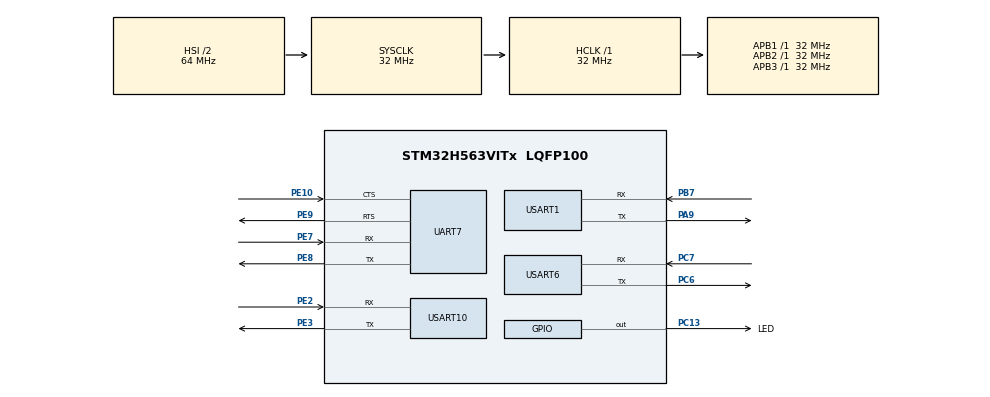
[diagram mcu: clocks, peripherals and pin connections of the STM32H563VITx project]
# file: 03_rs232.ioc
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BOOTPATH.BootPathName=LEGACY
BOOTPATH.UserSelectedBootPath=LEGACY
CORTEX_M33_NS.userName=CORTEX_M33
GPDMA1.CIRCULARMODE_GPDMACH1=ENABLE
GPDMA1.CIRCULARMODE_GPDMACH2=ENABLE
GPDMA1.RECAP_GPDMACH1=GPDMA1_REQUEST_USART1_RX
Mcu.Family=STM32H5
Mcu.Name=STM32H563VITx
Mcu.Package=LQFP100
NVIC.PriorityGroup=NVIC_PRIORITYGROUP_4
NVIC.USART1_IRQn=true\:0\:0\:false\:false\:true\:true\:true\:true
PA9.Mode=Asynchronous
PA9.Signal=USART1_TX
PB7.Mode=Asynchronous
PB7.Signal=USART1_RX
PC13.GPIO_Label=LED
PC13.Signal=GPIO_Output
PC6.Mode=Asynchronous
PC6.Signal=USART6_TX
PC7.Mode=Asynchronous
PC7.Signal=USART6_RX
PE10.Mode=CTS_RTS
PE10.Signal=UART7_CTS
PE2.Mode=Asynchronous
PE2.Signal=USART10_RX
PE3.Mode=Asynchronous
PE3.Signal=USART10_TX
PE7.Mode=Asynchronous
PE7.Signal=UART7_RX
PE8.Mode=Asynchronous
PE8.Signal=UART7_TX
PE9.Mode=CTS_RTS
PE9.Signal=UART7_RTS
ProjectManager.HeapSize=0x200
ProjectManager.StackSize=0x400
ProjectManager.TargetToolchain=STM32CubeIDE
RCC.ADCFreq_Value=32000000
RCC.AHBFreq_Value=32000000
RCC.APB1Freq_Value=32000000
RCC.APB1TimFreq_Value=32000000
RCC.APB2Freq_Value=32000000
RCC.APB2TimFreq_Value=32000000
RCC.APB3Freq_Value=32000000
RCC.CSI_VALUE=4000000
RCC.CortexFreq_Value=32000000
RCC.EPOD_VALUE=4000000
RCC.HCLKFreq_Value=32000000
RCC.HSE_VALUE=25000000
RCC.HSI48_VALUE=48000000
RCC.HSI_VALUE=64000000
RCC.LSE_VALUE=32768
RCC.LSIRC_VALUE=32000
RCC.SYSCLKFreq_VALUE=32000000
RCC.USBFreq_Value=48000000
RCC.VCOOutputFreq_Value=516000000
USART1.VirtualMode-Asynchronous=VM_ASYNC
USART10.VirtualMode=VM_ASYNC
USART6.VirtualMode=VM_ASYNC
VP_BOOTPATH_VS_BOOTPATH.Mode=BP_Activate
VP_CORTEX_M33_NS_VS_Hclk.Mode=Hclk_Mode
VP_GPDMA1_VS_GPDMACH1.Mode=SIMPLEREQUEST_GPDMACH1
VP_GPDMA1_VS_GPDMACH2.Mode=SIMPLEREQUEST_GPDMACH2
VP_ICACHE_VS_ENABLE_ICACHE_MEMORY.Mode=Memoryregions
VP_ICACHE_VS_ICACHE.Mode=DirectMappedCache
VP_MEMORYMAP_VS_MEMORYMAP.Mode=CurAppReg
VP_PWR_VS_LPOM.Mode=PowerOptimisation
VP_PWR_VS_SECSignals.Mode=Security/Privilege
board=custom

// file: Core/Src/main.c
/* USER CODE BEGIN Header */
/**
 ******************************************************************************
 * @file           : main.c
 * @brief          : Main program body
 ******************************************************************************
 * @attention
 *
 * Copyright (c) 2026 STMicroelectronics.
 * All rights reserved.
 *
 * This software is licensed under terms that can be found in the LICENSE file
 * in the root directory of this software component.
 * If no LICENSE file comes with this software, it is provided AS-IS.
 *
 ******************************************************************************
 */

/**
 * @brief 해당 예제는 stm32h5-kit의 3개 채널 uart를 동시에 다루는 예제입니다.
 *        이전 예제 UART의 확장버전으로 구현하려고 합니다.
 *        RS232는 UART처럼 사용하시면 되기 때문에,
 *        STLink 포트를 이용하여, "RS232" 라고 입력 후 엔터를 치고,
 *        상대편이 rs232 메시지를 잘 받는지 관찰해 봅시다.
 *
 * @note  ioc에서 baudrate는 115200으로 맞춰줍시다.
 *        uart7을 사용하며, CTS/RTS 옵션을 체크해 줍시다. (해당 옵션은 하드웨어적으로 상대편에게 REQUEST및 RESPONSE를 해줍니다.)
 *        따라서 안정적인 상황에서만 통신을 지속 할 수 있게 해줍니다.
 *        현재 예제 수준에서는 불필요할지도 모르지만, 학습을 위해서라면 체크해두는게 좋겠습니다.
 *        핀번호는 아래와 같습니다.
 *
 *        RX - PE7
 *        TX - PE8
 *        RTS - PE9
 *        CTS - PE10
 */
/* USER CODE END Header */
#include "main.h"
#include "gpdma.h"
#include "icache.h"
#include "usart.h"
#include "gpio.h"

/* USER CODE BEGIN Includes */
#include <stdbool.h>
#include <string.h>
/* USER CODE END Includes */

/* USER CODE BEGIN PD */
#define RX_BUF_SIZE 64
/* USER CODE END PD */

/* USER CODE BEGIN PV */
static uint8_t          debug_uart_rx_char;
static char             debug_uart_rx_line[RX_BUF_SIZE];
static volatile uint8_t debug_uart_rx_idx   = 0;
static volatile bool    debug_uart_rx_ready = false;

extern UART_HandleTypeDef huart1;
extern UART_HandleTypeDef huart6;
extern UART_HandleTypeDef huart7; // RS232 핸들러
extern UART_HandleTypeDef huart10;
/* USER CODE END PV */

void SystemClock_Config(void);

/* USER CODE BEGIN 0 */

void HAL_UART_RxCpltCallback(UART_HandleTypeDef *huart)
{
  if (debug_uart_rx_ready)
  {
    HAL_UART_Receive_IT(&huart1, &debug_uart_rx_char, 1);
    return;
  }

  if (huart == &huart1)
  {
    HAL_UART_Transmit(&huart1, &debug_uart_rx_char, sizeof(debug_uart_rx_char), 1);

    if (debug_uart_rx_char == '\n' || debug_uart_rx_char == '\r')
    {
      debug_uart_rx_line[debug_uart_rx_idx] = 0;
      debug_uart_rx_idx                     = 0;
      debug_uart_rx_ready                   = true;
    }
    else
    {
      if (debug_uart_rx_idx < RX_BUF_SIZE - 1)
      {
        debug_uart_rx_line[debug_uart_rx_idx++] = debug_uart_rx_char;
      }
    }
    HAL_UART_Receive_IT(&huart1, &debug_uart_rx_char, 1);
  }
}

/* USER CODE END 0 */

int main(void)
{

  /* MCU Configuration--------------------------------------------------------*/

  /* Reset of all peripherals, Initializes the Flash interface and the Systick. */
  HAL_Init();

  /* Configure the system clock */
  SystemClock_Config();

  /* Initialize all configured peripherals */
  MX_GPIO_Init();
  MX_GPDMA1_Init();
  MX_USART1_UART_Init();
  MX_USART6_UART_Init();
  MX_USART10_UART_Init();
  MX_ICACHE_Init();
  MX_UART7_Init();
  /* USER CODE BEGIN 2 */
  HAL_GPIO_WritePin(LED_GPIO_Port, LED_Pin, GPIO_PIN_SET);
  HAL_UART_Receive_IT(&huart1, &debug_uart_rx_char, 1);
  /* USER CODE END 2 */

  /* Infinite loop */
  /* USER CODE BEGIN WHILE */

  while (1)
  {
    if (debug_uart_rx_ready)
    {
      debug_uart_rx_ready = false;

      if (strcmp(debug_uart_rx_line, "LED ON") == 0)
      {
        HAL_GPIO_WritePin(LED_GPIO_Port, LED_Pin, GPIO_PIN_RESET);
        char msg[] = "current : LED ON\n";
        HAL_UART_Transmit(&huart1, (uint8_t *)msg, sizeof(msg), 100);
      }
      else if (strcmp(debug_uart_rx_line, "LED OFF") == 0)
      {
        HAL_GPIO_WritePin(LED_GPIO_Port, LED_Pin, GPIO_PIN_SET);
        char msg[] = "current : LED OFF\n";
        HAL_UART_Transmit(&huart1, (uint8_t *)msg, sizeof(msg), 100);
      }
      else if (strcmp(debug_uart_rx_line, "UART6 SEND") == 0)
      {
        char msg[] = "[SENT]Hello Uart!\n";
        HAL_UART_Transmit(&huart6, (uint8_t *)msg, sizeof(msg), 100);
      }
      else if (strcmp(debug_uart_rx_line, "UART10 SEND") == 0)
      {
        char msg[] = "[SENT]Hello Uart!\n";
        HAL_UART_Transmit(&huart10, (uint8_t *)msg, sizeof(msg), 100);
      }
      else if (strcmp(debug_uart_rx_line, "RS232") == 0) // 해당 줄과 같이 rs232 명령도 추가!
      {
        char msg[] = "[RS232]Hello Uart!\n";
        HAL_UART_Transmit(&huart7, (uint8_t *)msg, sizeof(msg), 100);
      }
      else
      {
        char msg[] = "[ERROR]unknown command\n";
        HAL_UART_Transmit(&huart1, (uint8_t *)msg, sizeof(msg), 100);
      }
    }

    /* USER CODE END WHILE */

  }
}

void SystemClock_Config(void)
{
  RCC_OscInitTypeDef RCC_OscInitStruct = {0};
  RCC_ClkInitTypeDef RCC_ClkInitStruct = {0};

  /** Configure the main internal regulator output voltage
  */
  __HAL_PWR_VOLTAGESCALING_CONFIG(PWR_REGULATOR_VOLTAGE_SCALE3);

  while(!__HAL_PWR_GET_FLAG(PWR_FLAG_VOSRDY)) {}

  /** Initializes the RCC Oscillators according to the specified parameters
  * in the RCC_OscInitTypeDef structure.
  */
  RCC_OscInitStruct.OscillatorType = RCC_OSCILLATORTYPE_HSI;
  RCC_OscInitStruct.HSIState = RCC_HSI_ON;
  RCC_OscInitStruct.HSIDiv = RCC_HSI_DIV2;
  RCC_OscInitStruct.HSICalibrationValue = RCC_HSICALIBRATION_DEFAULT;
  RCC_OscInitStruct.PLL.PLLState = RCC_PLL_NONE;
  if (HAL_RCC_OscConfig(&RCC_OscInitStruct) != HAL_OK)
  {
    Error_Handler();
  }

  /** Initializes the CPU, AHB and APB buses clocks
  */
  RCC_ClkInitStruct.ClockType = RCC_CLOCKTYPE_HCLK|RCC_CLOCKTYPE_SYSCLK
                              |RCC_CLOCKTYPE_PCLK1|RCC_CLOCKTYPE_PCLK2
                              |RCC_CLOCKTYPE_PCLK3;
  RCC_ClkInitStruct.SYSCLKSource = RCC_SYSCLKSOURCE_HSI;
  RCC_ClkInitStruct.AHBCLKDivider = RCC_SYSCLK_DIV1;
  RCC_ClkInitStruct.APB1CLKDivider = RCC_HCLK_DIV1;
  RCC_ClkInitStruct.APB2CLKDivider = RCC_HCLK_DIV1;
  RCC_ClkInitStruct.APB3CLKDivider = RCC_HCLK_DIV1;

  if (HAL_RCC_ClockConfig(&RCC_ClkInitStruct, FLASH_LATENCY_1) != HAL_OK)
  {
    Error_Handler();
  }

  /** Configure the programming delay
  */
  __HAL_FLASH_SET_PROGRAM_DELAY(FLASH_PROGRAMMING_DELAY_0);
}

void Error_Handler(void)
{
  __disable_irq();
  while (1)
  {
  }
}
